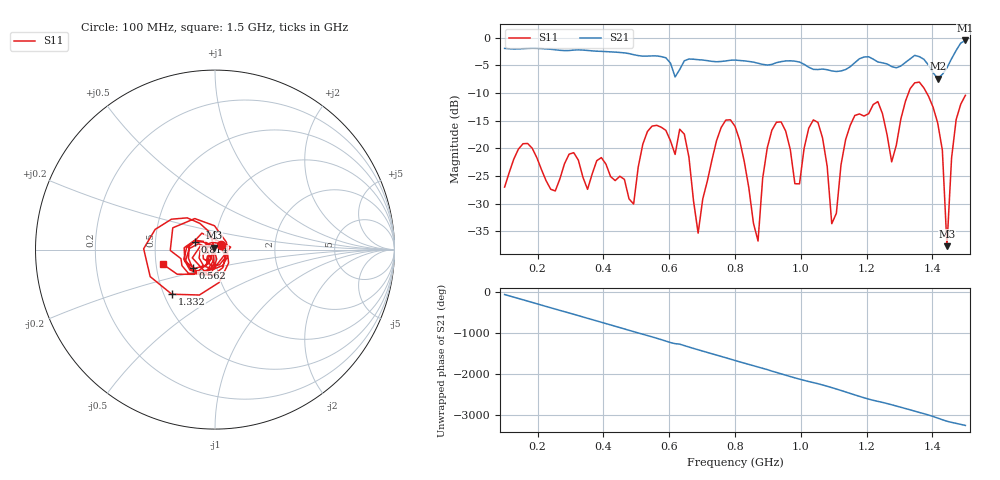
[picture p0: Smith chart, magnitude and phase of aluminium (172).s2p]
! NanoVNA-App
! Date: 2025-09-25 14:56:37
! Start: 100MHz Stop: 1,5GHz Points: 101
! S-Parameter data: F S11 S21 S12 S22
# Hz S RI R 50
!  Frequency  S11_Real  S11_Imag  S21_Real  S21_Imag  S12_Real  S12_Imag  S22_Real  S22_Imag
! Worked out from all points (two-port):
!   101 points, 100 MHz to 1.5 GHz, reference 50 ohm
!   highest |S21| = -0.48 dB at 1.5 GHz (marker M1); lowest = -7.4 dB at 1.416 GHz (marker M2)
!   |S21| within 3 dB of the highest: start of sweep to 581.2 MHz; 1.461 GHz to end of sweep (the widest 2 of 4)
!   lowest |S11| = -37.7 dB at 1.444 GHz (marker M3), VSWR 1.03, Z = 49.3 + j1.11 ohm
!   |S11| at or under -10 dB: start of sweep to 1.327 GHz; 1.383 GHz to end of sweep
!   S12 and S22 are empty: the file has one direction only
!   S11 on the Smith chart (normalised r, x): 100 MHz: 1.07, +0.06; 562 MHz: 0.76, -0.16; 814 MHz: 0.80, +0.07; 1.332 GHz: 0.55, -0.31; 1.5 GHz: 0.54, -0.10
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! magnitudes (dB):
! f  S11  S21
! 100 MHz  -27.0  -1.9
! 338 MHz  -25.2  -2.2
! 492 MHz  -30.1  -3.1
! 562 MHz  -15.8  -3.3
! 576 MHz  -16.2  -3.4
! 646 MHz  -17.4  -4.2
! 688 MHz  -35.3  -4.0
! 800 MHz  -16.0  -4.0
! 814 MHz  -18.5  -4.1
! 870 MHz  -36.7  -4.6
! 912 MHz  -16.7  -4.8
! 996 MHz  -26.4  -4.4
! 1.038 GHz  -14.8  -5.7
! 1.094 GHz  -33.6  -6.0
! 1.164 GHz  -14.0  -4.5
! 1.234 GHz  -11.5  -4.4
! 1.276 GHz  -22.4  -5.2
! 1.332 GHz  -9.2  -3.8
! 1.416 GHz  -15.4  -7.4
! 1.444 GHz  -37.7  -5.4
! 1.472 GHz  -14.8  -2.3
! 1.5 GHz  -10.4  -0.5
